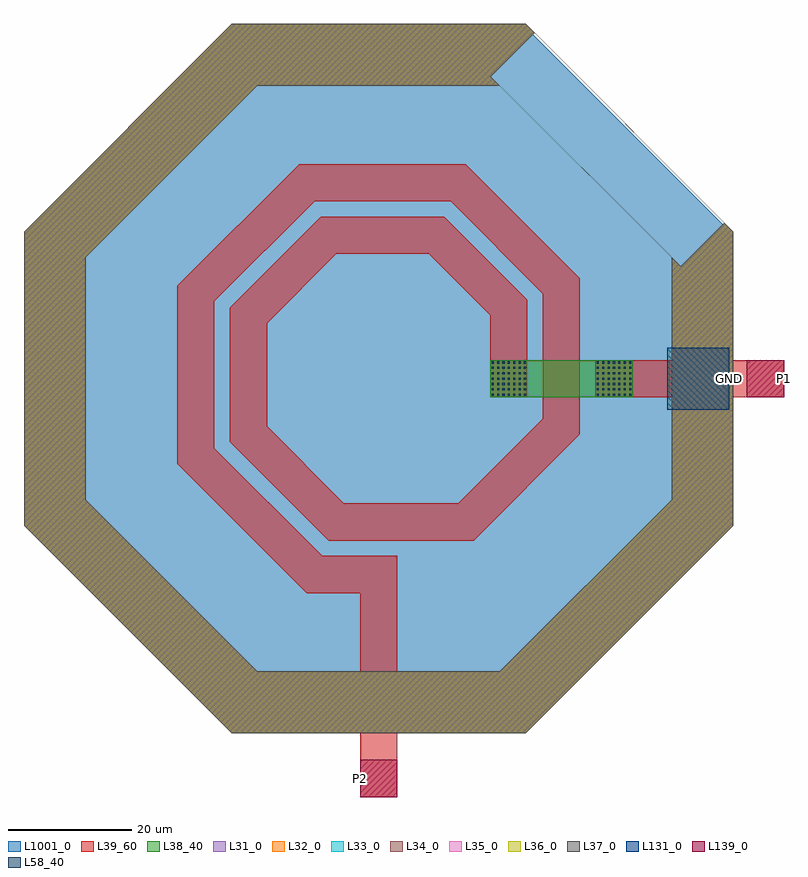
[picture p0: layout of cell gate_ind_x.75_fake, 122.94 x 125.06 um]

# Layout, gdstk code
import gdstk
lib = gdstk.Library(unit=1e-6, precision=1e-09)
def R(c, l, rs):  # rectangles x0, y0, x1, y1
    for r in rs: c.add(gdstk.rectangle(r[:2], r[2:], *l))
def A(c, l, x, y, w, h, nx, ny, dx, dy):  # array of equal rectangles
    R(c, l, [(x+i*dx, y+j*dy, x+i*dx+w, y+j*dy+h) for i in range(nx) for j in range(ny)])
def P(c, l, *ps):  # polygons
    for p in ps: c.add(gdstk.Polygon(p, *l))
L31_0 = (31, 0)
L32_0 = (32, 0)
L33_0 = (33, 0)
L34_0 = (34, 0)
L35_0 = (35, 0)
L36_0 = (36, 0)
L37_0 = (37, 0)
L38_40 = (38, 40)
L39_60 = (39, 60)
L58_40 = (58, 40)
L131_0 = (131, 0)
L139_0 = (139, 0)
L1001_0 = (1001, 0)

gate_ind_x_75_fake = lib.new_cell('gate_ind_x.75_fake')
P(gate_ind_x_75_fake, L31_0, [(48.839,18.159),(55.91,25.23),(23.765,57.374),(-23.765,57.374),(-57.374,23.765),(-57.374,-23.765),(-23.765,-57.374),(23.765,-57.374),(57.374,-23.765),(57.374,23.765),(25.23,55.91),(18.159,48.839),(47.374,19.623),(47.374,-19.623),(19.623,-47.374),(-19.623,-47.374),(-47.374,-19.623),(-47.374,19.623),(-19.623,47.374),(19.623,47.374)])
P(gate_ind_x_75_fake, L32_0, [(48.839,18.159),(55.91,25.23),(23.765,57.374),(-23.765,57.374),(-57.374,23.765),(-57.374,-23.765),(-23.765,-57.374),(23.765,-57.374),(57.374,-23.765),(57.374,23.765),(25.23,55.91),(18.159,48.839),(47.374,19.623),(47.374,-19.623),(19.623,-47.374),(-19.623,-47.374),(-47.374,-19.623),(-47.374,19.623),(-19.623,47.374),(19.623,47.374)])
P(gate_ind_x_75_fake, L33_0, [(48.839,18.159),(55.91,25.23),(23.765,57.374),(-23.765,57.374),(-57.374,23.765),(-57.374,-23.765),(-23.765,-57.374),(23.765,-57.374),(57.374,-23.765),(57.374,23.765),(25.23,55.91),(18.159,48.839),(47.374,19.623),(47.374,-19.623),(19.623,-47.374),(-19.623,-47.374),(-47.374,-19.623),(-47.374,19.623),(-19.623,47.374),(19.623,47.374)])
P(gate_ind_x_75_fake, L34_0, [(48.839,18.159),(55.91,25.23),(23.765,57.374),(-23.765,57.374),(-57.374,23.765),(-57.374,-23.765),(-23.765,-57.374),(23.765,-57.374),(57.374,-23.765),(57.374,23.765),(25.23,55.91),(18.159,48.839),(47.374,19.623),(47.374,-19.623),(19.623,-47.374),(-19.623,-47.374),(-47.374,-19.623),(-47.374,19.623),(-19.623,47.374),(19.623,47.374)])
P(gate_ind_x_75_fake, L35_0, [(48.839,18.159),(55.91,25.23),(23.765,57.374),(-23.765,57.374),(-57.374,23.765),(-57.374,-23.765),(-23.765,-57.374),(23.765,-57.374),(57.374,-23.765),(57.374,23.765),(25.23,55.91),(18.159,48.839),(47.374,19.623),(47.374,-19.623),(19.623,-47.374),(-19.623,-47.374),(-47.374,-19.623),(-47.374,19.623),(-19.623,47.374),(19.623,47.374)])
P(gate_ind_x_75_fake, L36_0, [(48.839,18.159),(55.91,25.23),(23.765,57.374),(-23.765,57.374),(-57.374,23.765),(-57.374,-23.765),(-23.765,-57.374),(23.765,-57.374),(57.374,-23.765),(57.374,23.765),(25.23,55.91),(18.159,48.839),(47.374,19.623),(47.374,-19.623),(19.623,-47.374),(-19.623,-47.374),(-47.374,-19.623),(-47.374,19.623),(-19.623,47.374),(19.623,47.374)])
P(gate_ind_x_75_fake, L37_0, [(48.839,18.159),(55.91,25.23),(23.765,57.374),(-23.765,57.374),(-57.374,23.765),(-57.374,-23.765),(-23.765,-57.374),(23.765,-57.374),(57.374,-23.765),(57.374,23.765),(25.23,55.91),(18.159,48.839),(47.374,19.623),(47.374,-19.623),(19.623,-47.374),(-19.623,-47.374),(-47.374,-19.623),(-47.374,19.623),(-19.623,47.374),(19.623,47.374)])
R(gate_ind_x_75_fake, L38_40, [(18.065,-3,41.065,3)])
P(gate_ind_x_75_fake, L38_40, [(48.839,18.159),(55.91,25.23),(23.765,57.374),(-23.765,57.374),(-57.374,23.765),(-57.374,-23.765),(-23.765,-57.374),(23.765,-57.374),(57.374,-23.765),(57.374,23.765),(25.23,55.91),(18.159,48.839),(47.374,19.623),(47.374,-19.623),(19.623,-47.374),(-19.623,-47.374),(-47.374,-19.623),(-47.374,19.623),(-19.623,47.374),(19.623,47.374)])
R(gate_ind_x_75_fake, L39_60, [(-3,-67.69,3,-28.69), (35.065,-3,65.565,3)])
P(gate_ind_x_75_fake, L39_60, [(18.065,-3),(24.065,-3),(24.065,12.718),(10.593,26.19),(-9.348,26.19),(-24.065,11.473),(-24.065,-10.228),(-8.103,-26.19),(15.358,-26.19),(32.565,-8.983),(32.565,16.238),(14.113,34.69),(-12.868,34.69),(-32.565,14.993),(-32.565,-13.748),(-11.623,-34.69),(0,-34.69),(0,-28.69),(-9.137,-28.69),(-26.565,-11.262),(-26.565,12.507),(-10.382,28.69),(11.627,28.69),(26.565,13.752),(26.565,-6.497),(12.872,-20.19),(-5.617,-20.19),(-18.065,-7.742),(-18.065,8.987),(-6.862,20.19),(8.107,20.19),(18.065,10.232)],
  [(48.839,18.159),(55.91,25.23),(23.765,57.374),(-23.765,57.374),(-57.374,23.765),(-57.374,-23.765),(-23.765,-57.374),(23.765,-57.374),(57.374,-23.765),(57.374,23.765),(25.23,55.91),(18.159,48.839),(47.374,19.623),(47.374,-19.623),(19.623,-47.374),(-19.623,-47.374),(-47.374,-19.623),(-47.374,19.623),(-19.623,47.374),(19.623,47.374)])
A(gate_ind_x_75_fake, L58_40, 18.28, -2.785, 0.35, 0.35, 7, 7, 0.87, 0.87)
A(gate_ind_x_75_fake, L58_40, 35.28, -2.785, 0.35, 0.35, 7, 7, 0.87, 0.87)
R(gate_ind_x_75_fake, L131_0, [(46.69,-5,56.69,5)])
R(gate_ind_x_75_fake, L139_0, [(-3,-67.69,3,-61.69), (59.565,-3,65.565,3)])
P(gate_ind_x_75_fake, L1001_0, [(56.994,23.608),(23.608,56.994),(-23.608,56.994),(-56.994,23.608),(-56.994,-23.608),(-23.608,-56.994),(23.608,-56.994),(56.994,-23.608)],
  [(56.994,23.608),(23.608,56.994),(-23.608,56.994),(-56.994,23.608),(-56.994,-23.608),(-23.608,-56.994),(23.608,-56.994),(56.994,-23.608)],
  [(56.994,23.608),(23.608,56.994),(-23.608,56.994),(-56.994,23.608),(-56.994,-23.608),(-23.608,-56.994),(23.608,-56.994),(56.994,-23.608)],
  [(56.994,23.608),(23.608,56.994),(-23.608,56.994),(-56.994,23.608),(-56.994,-23.608),(-23.608,-56.994),(23.608,-56.994),(56.994,-23.608)],
  [(56.994,23.608),(23.608,56.994),(-23.608,56.994),(-56.994,23.608),(-56.994,-23.608),(-23.608,-56.994),(23.608,-56.994),(56.994,-23.608)],
  [(56.994,23.608),(23.608,56.994),(-23.608,56.994),(-56.994,23.608),(-56.994,-23.608),(-23.608,-56.994),(23.608,-56.994),(56.994,-23.608)],
  [(56.994,23.608),(23.608,56.994),(-23.608,56.994),(-56.994,23.608),(-56.994,-23.608),(-23.608,-56.994),(23.608,-56.994),(56.994,-23.608)],
  [(56.994,23.608),(23.608,56.994),(-23.608,56.994),(-56.994,23.608),(-56.994,-23.608),(-23.608,-56.994),(23.608,-56.994),(56.994,-23.608)],
  [(56.994,23.608),(23.608,56.994),(-23.608,56.994),(-56.994,23.608),(-56.994,-23.608),(-23.608,-56.994),(23.608,-56.994),(56.994,-23.608)])
gate_ind_x_75_fake.add(gdstk.Label('P1', (65.565,0), layer=139, texttype=0))
gate_ind_x_75_fake.add(gdstk.Label('P2', (-3,-64.69), layer=139, texttype=0))
gate_ind_x_75_fake.add(gdstk.Label('GND', (56.69,0), layer=131, texttype=0))

lib.write_gds('gate_ind_x.75_fake.gds')
